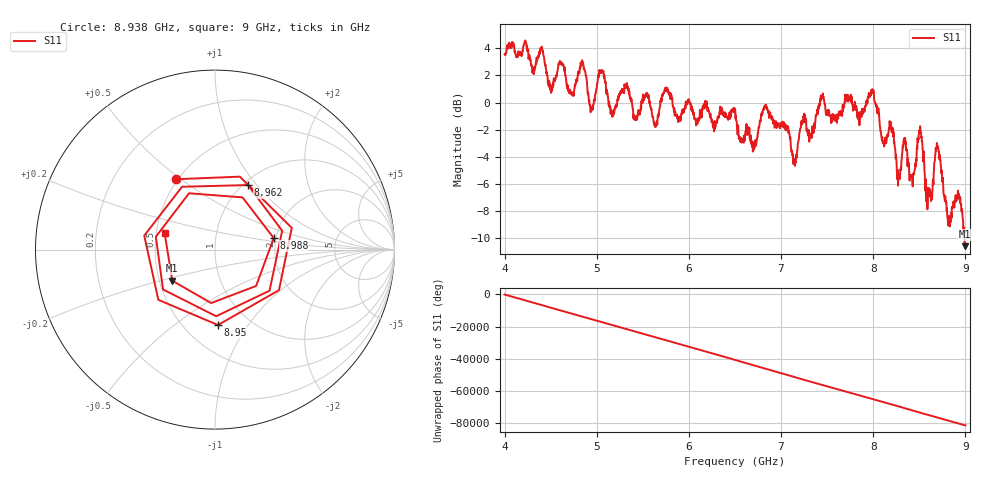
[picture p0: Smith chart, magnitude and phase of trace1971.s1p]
! Created with skrf 1.8.0 (http://scikit-rf.org).
# Hz S RI R 50.0
!freq ReS11 ImS11
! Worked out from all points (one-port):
!   1601 points, 4 GHz to 9 GHz, reference 50 ohm
!   lowest |S11| = -10.6 dB at 8.997 GHz (marker M1), VSWR 1.83, Z = 29.2 - j11.1 ohm
!   |S11| at or under -10 dB: 8.989836 GHz to end of sweep
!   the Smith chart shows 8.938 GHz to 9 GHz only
!   S11 on the Smith chart (normalised r, x): 8.938 GHz: 0.49, +0.48; 8.95 GHz: 0.72, -0.73; 8.962 GHz: 1.05, +0.90; 8.988 GHz: 1.95, +0.28; 9 GHz: 0.55, +0.11
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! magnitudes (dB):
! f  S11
! 4 GHz  3.6
! 4.625 GHz  2.9
! 4.725 GHz  0.6
! 4.85 GHz  3.0
! 4.941 GHz  -0.5
! 5.05 GHz  2.2
! 5.162 GHz  -0.9
! 5.25 GHz  0.7
! 5.875 GHz  -1.2
! 6.5 GHz  -0.6
! 6.709 GHz  -3.4
! 6.841 GHz  -0.3
! 7.125 GHz  -3.9
! 7.441 GHz  0.4
! 7.75 GHz  0.4
! 7.988 GHz  0.9
! 8.278 GHz  -5.5
! 8.375 GHz  -4.1
! 8.506 GHz  -2.2
! 8.603 GHz  -6.9
! 8.697 GHz  -3.2
! 8.819 GHz  -8.5
! 8.938 GHz  -7.0
! 8.95 GHz  -7.5
! 8.962 GHz  -7.9
! 8.988 GHz  -9.5
! 8.997 GHz  -10.6
! 9 GHz  -10.6
